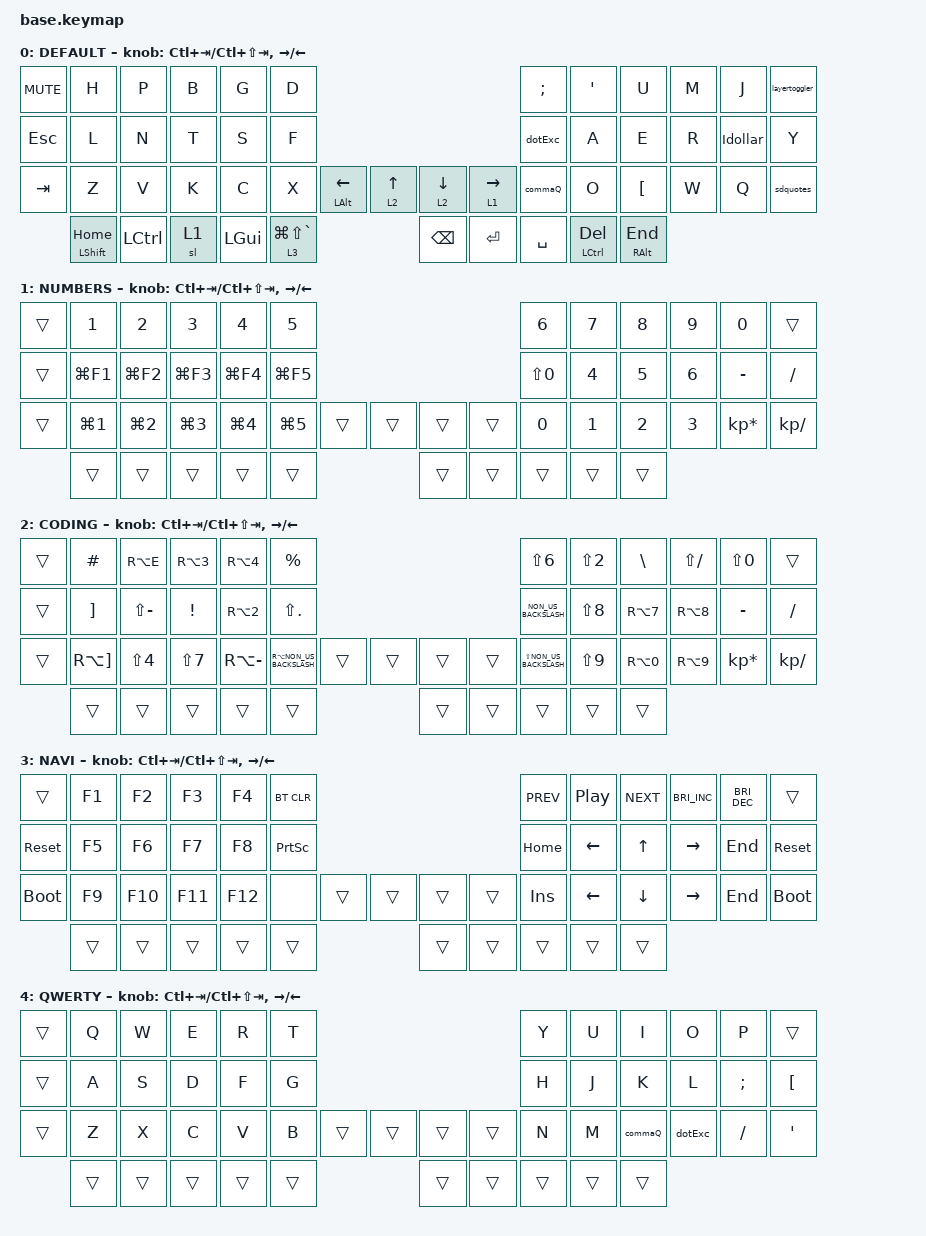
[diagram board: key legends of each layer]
#include <behaviors.dtsi>
#include <dt-bindings/zmk/bt.h>
#include <dt-bindings/zmk/keys.h>

/ {
    behaviors {
        lbh: lbh {
            compatible = "zmk,behavior-hold-tap";
            label = "LBH";
            bindings = <&mo>, <&to>;

            #binding-cells = <2>;
            flavor = "hold-preferred";
            tapping-term-ms = <500>;
        };

        hlt: hlt {
            compatible = "zmk,behavior-hold-tap";
            label = "HLT";
            bindings = <&mo>, <&kp>;

            #binding-cells = <2>;
            flavor = "balanced";
            tapping-term-ms = <200>;
        };

        commaQ: commaQ {
            compatible = "zmk,behavior-tap-dance";
            label = "COMMA_QM";
            #binding-cells = <0>;
            bindings = <&kp COMMA>, <&kp LS(MINUS)>;
        };

        dotExc: dotExc {
            compatible = "zmk,behavior-tap-dance";
            label = "DOT2EXC";
            #binding-cells = <0>;
            bindings = <&kp DOT>, <&kp EXCL>;
        };

        //single and double quotes

        sdquotes: sdquotes {
            compatible = "zmk,behavior-tap-dance";
            label = "SDQUOTES";
            #binding-cells = <0>;
            bindings = <&kp BSLH>, <&kp LS(N2)>;
        };

        atEsc: atEsc {
            compatible = "zmk,behavior-tap-dance";
            label = "ATESC";
            #binding-cells = <0>;
            bindings = <&mt LCTRL ESC>, <&kp RA(N2)>;
        };

        Idollar: Idollar {
            compatible = "zmk,behavior-tap-dance";
            label = "IDOLLAR";
            #binding-cells = <0>;
            bindings = <&kp I>, <&kp RA(N4)>;
        };

        multileft: multileft {
            compatible = "zmk,behavior-tap-dance";
            label = "MULTILEFT";
            #binding-cells = <0>;
            bindings = <&kp LEFT>, <&kp HOME>;
        };
        layertoggler: layertoggler {
            compatible = "zmk,behavior-tap-dance";
            label = "LAYERTOGGLER";
            #binding-cells = <0>;
            bindings = <&tog 4>, <&tog 1>;
        };

    };

    keymap {
        compatible = "zmk,keymap";

        DEFAULT {
            bindings = <
&kp C_MUTE    &kp H  &kp P  &kp B       &kp G      &kp D                                                               &kp SEMI       &kp SQT       &kp U        &kp M  &kp J     &layertoggler
&kp ESC       &kp L  &kp N  &kp T       &kp S      &kp F                                                               &dotExc         &kp A         &kp E        &kp R  &Idollar  &kp Y
&kp TAB       &kp Z  &kp V  &kp K       &kp C      &kp X     &mt LALT LEFT  &hlt 2 UP         &hlt 2 DOWN  &hlt 1 RIGHT  &commaQ        &kp O         &kp LBKT     &kp W  &kp Q     &sdquotes
              &mt LSHFT HOME  &kp LCTRL  &sl 1  &kp LGUI  &hlt 3 LG(LS(GRAVE))           &kp BACKSPACE     &kp RET  &kp SPACE  &mt LCTRL DEL  &mt RALT END
            >;

            sensor-bindings = <&inc_dec_kp LC(TAB) LC(LS(TAB)) &inc_dec_kp RIGHT LEFT>;
        };

        NUMBERS {
            bindings = <
&trans      &kp N1      &kp N2      &kp N3      &kp N4      &kp N5                                      &kp N6      &kp N7  &kp N8  &kp N9  &kp N0           &trans
&trans      &kp LG(F1)  &kp LG(F2)  &kp LG(F3)  &kp LG(F4)  &kp LG(F5)                                  &kp LS(N0)  &kp N4  &kp N5  &kp N6  &kp MINUS        &kp SLASH
&trans      &kp LG(N1)  &kp LG(N2)  &kp LG(N3)  &kp LG(N4)  &kp LG(N5)  &trans  &trans  &trans  &trans  &kp N0      &kp N1  &kp N2  &kp N3  &kp KP_MULTIPLY  &kp KP_DIVIDE
                                    &trans      &trans      &trans      &trans  &trans  &trans  &trans  &trans      &trans  &trans
            >;

            sensor-bindings = <&inc_dec_kp LC(TAB) LC(LS(TAB)) &inc_dec_kp RIGHT LEFT>;
        };

        CODING {
            bindings = <
&trans  &kp HASH      &kp RA(E)      &kp RA(NUMBER_3)  &kp RA(N4)     &kp PERCENT                                               &kp LS(NUMBER_6)          &kp LS(NUMBER_2)  &kp BSLH    &kp LS(FSLH)  &kp LS(N0)       &trans
&trans  &kp RBKT      &kp LS(MINUS)  &kp EXCL          &kp RA(N2)     &kp LS(DOT)                                               &kp NON_US_BACKSLASH      &kp LS(N8)        &kp RA(N7)  &kp RA(N8)    &kp MINUS        &kp FSLH
&trans  &kp RA(RBKT)  &kp LS(N4)     &kp LS(N7)        &kp RA(MINUS)  &kp RA(NON_US_BACKSLASH)  &trans  &trans  &trans  &trans  &kp LS(NON_US_BACKSLASH)  &kp LS(N9)        &kp RA(N0)  &kp RA(N9)    &kp KP_MULTIPLY  &kp KP_DIVIDE
                                     &trans            &trans         &trans                    &trans  &trans  &trans  &trans  &trans                    &trans            &trans
            >;

            sensor-bindings = <&inc_dec_kp LC(TAB) LC(LS(TAB)) &inc_dec_kp RIGHT LEFT>;
        };

        NAVI {
            bindings = <
&trans       &kp F1  &kp F2   &kp F3   &kp F4   &bt BT_CLR                                  &kp C_PREV  &kp C_PP  &kp C_NEXT  &kp C_BRI_INC  &kp C_BRI_DEC  &trans
&sys_reset   &kp F5  &kp F6   &kp F7   &kp F8   &kp PRINTSCREEN                                       &kp HOME    &kp LEFT  &kp UP      &kp RIGHT      &kp END        &sys_reset
&bootloader  &kp F9  &kp F10  &kp F11  &kp F12  &none       &trans  &trans  &trans  &trans  &kp INS     &kp LEFT  &kp DOWN    &kp RIGHT      &kp END        &bootloader
                              &trans   &trans   &trans      &trans  &trans  &trans  &trans  &trans      &trans    &trans
            >;

            sensor-bindings = <&inc_dec_kp LC(TAB) LC(LS(TAB)) &inc_dec_kp RIGHT LEFT>;
        };
        QWERTY {
            bindings = <
&trans        &kp Q  &kp W  &kp E  &kp R  &kp T                                                            &kp Y  &kp U  &kp I  &kp O  &kp P    &trans
&trans        &kp A  &kp S  &kp D  &kp F  &kp G                                                            &kp H  &kp J  &kp K  &kp L  &kp SEMI &kp LBKT
&trans        &kp Z  &kp X  &kp C  &kp V  &kp B            &trans  &trans  &trans  &trans                  &kp N  &kp M  &commaQ &dotExc &kp SLASH  &kp SQT
                              &trans   &trans   &trans      &trans  &trans  &trans  &trans     &trans      &trans    &trans
            >;

            sensor-bindings = <&inc_dec_kp LC(TAB) LC(LS(TAB)) &inc_dec_kp RIGHT LEFT>;
        };
    };
};
